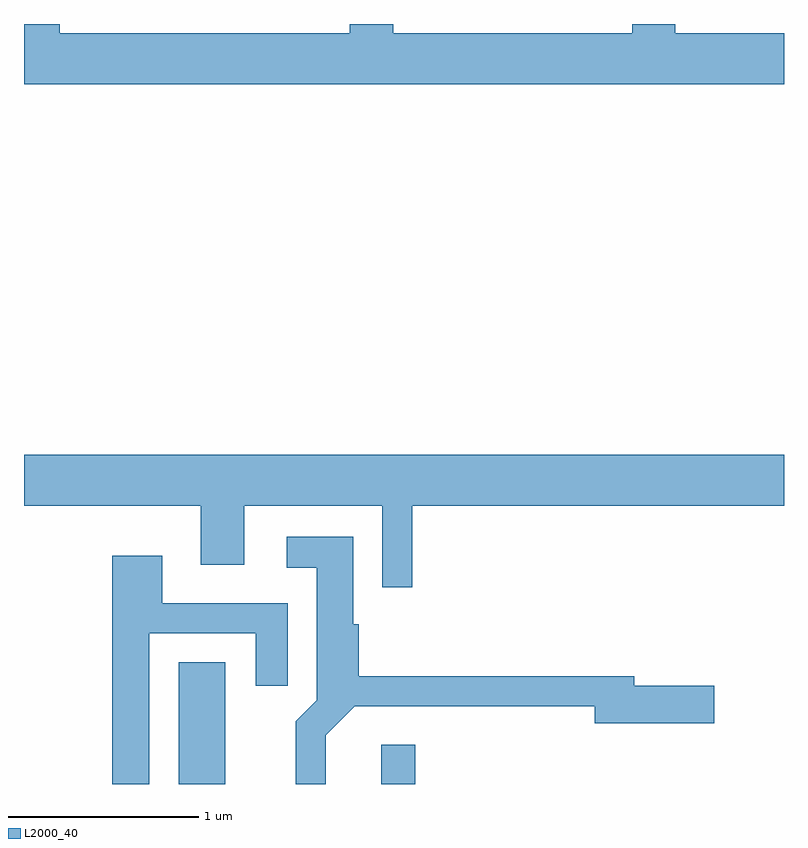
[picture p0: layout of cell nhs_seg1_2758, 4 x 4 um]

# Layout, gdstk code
import gdstk
lib = gdstk.Library(unit=1e-6, precision=1e-09)
def R(c, l, rs):  # rectangles x0, y0, x1, y1
    for r in rs: c.add(gdstk.rectangle(r[:2], r[2:], *l))
def P(c, l, *ps):  # polygons
    for p in ps: c.add(gdstk.Polygon(p, *l))
L2000_40 = (2000, 40)

nhs_seg1_2758 = lib.new_cell('nhs_seg1_2758')
R(nhs_seg1_2758, L2000_40, [(270.426,853.712,270.669,854.354), (271.491,853.712,271.669,853.919)])
P(nhs_seg1_2758, L2000_40, [(273.611,857.664),(273.039,857.664),(273.039,857.712),(272.811,857.712),(272.811,857.664),(271.554,857.664),(271.554,857.712),(271.326,857.712),(271.326,857.664),(269.799,857.664),(269.799,857.712),(269.611,857.712),(269.611,857.396),(273.611,857.396)],
  [(271.654,855.176),(273.611,855.176),(273.611,855.444),(269.611,855.444),(269.611,855.176),(270.541,855.176),(270.541,854.866),(270.769,854.866),(270.769,855.176),(271.496,855.176),(271.496,854.748),(271.654,854.748)],
  [(271.199,853.969),(271.352,854.121),(272.616,854.121),(272.616,854.031),(273.244,854.031),(273.244,854.229),(272.824,854.229),(272.824,854.279),(271.374,854.279),(271.374,854.554),(271.344,854.554),(271.344,855.014),(270.993,855.014),(270.993,854.851),(271.151,854.851),(271.151,854.152),(271.041,854.042),(271.041,853.712),(271.199,853.712)],
  [(270.269,854.506),(270.831,854.506),(270.831,854.228),(270.999,854.228),(270.999,854.664),(270.339,854.664),(270.339,854.914),(270.076,854.914),(270.076,853.712),(270.269,853.712)])

lib.write_gds('nhs_seg1_2758.gds')
